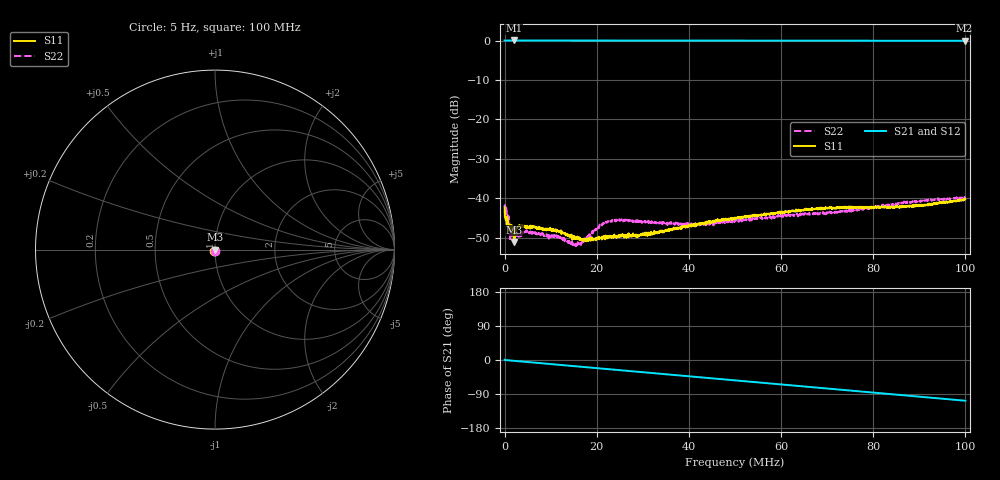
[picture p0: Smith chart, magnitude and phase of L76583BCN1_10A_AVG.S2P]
!Agilent Technologies,E5061B,MY49102235,A.02.00
!Date: Tue Jul 11 14:52:21 2023
!Data & Calibration Information:
!Freq	S11:SOLT2(ON)	S21:SOLT2(ON)	S12:SOLT2(ON)	S22:SOLT2(ON)
# Hz S RI R 50
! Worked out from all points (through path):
!   1600 points, 5 Hz to 100 MHz, reference 50 ohm
!   highest |S21| = 0.02 dB at 2.001 MHz (marker M1); lowest = -0.1 dB at 99.81 MHz (marker M2)
!   group delay of S21, straight-line fit = 2.99 ns
!   lowest |S11| = -51.1 dB at 2.126 MHz (marker M3), VSWR 1.01, Z = 50.3 - j0.0526 ohm
!   |S11| at or under -10 dB: start of sweep to end of sweep
!   |S22| runs from -52.1 to -39.7 dB; largest |S21 - S12| = 0.0026
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5  -0.0052 -0.00565  1.002 0.00804  1 0.0102  -0.00146 -0.00755
625395.8  0.00508 7.71e-05  1.002 -0.0112  1.002 -0.0107  0.00611 -0.000319
1000630  0.00382 0.000374  1.001 -0.0176  1.001 -0.0173  0.00517 -0.000534
1500943  0.00441 -0.000782  1.001 -0.0267  1.001 -0.0266  0.00305 -0.00194
2001256  0.00313 -0.000499  1.002 -0.0374  1.001 -0.0372  0.00324 -0.000235
2126334  0.00275 -0.000523  1.001 -0.0398  1 -0.0392  0.0039 5.18e-05
3126959  0.00457 -0.000218  0.9992 -0.0584  0.999 -0.0583  0.00342 -2.87e-05
4377741  0.00436 -0.000551  0.9977 -0.0818  0.9974 -0.0816  0.00377 -2.69e-05
6128835  0.00431 -0.00119  0.9946 -0.1141  0.9946 -0.1143  0.00367 -0.000838
1.138212e7  0.00294 -0.00266  0.9786 -0.2118  0.9783 -0.2113  0.00174 -0.00267
1.525954e7  0.00174 -0.00254  0.9601 -0.2823  0.96 -0.2818  0.00108 -0.00243
1.669794e7  0.00188 -0.00228  0.952 -0.308  0.9519 -0.3077  0.00136 -0.00225
2.107568e7  0.0024 -0.0018  0.9237 -0.385  0.9233 -0.3848  0.00383 -0.00252
2.251408e7  0.00277 -0.00184  0.9129 -0.4097  0.9127 -0.4097  0.00419 -0.00271
2.632896e7  0.00273 -0.00204  0.881 -0.4739  0.8808 -0.4737  0.00432 -0.00313
3.333334e7  0.00256 -0.00278  0.8109 -0.5851  0.8108 -0.5847  0.00323 -0.00355
4.115072e7  0.00295 -0.00352  0.7163 -0.6966  0.7162 -0.6964  0.0025 -0.00371
5.003127e7  0.00315 -0.00464  0.5904 -0.8056  0.5904 -0.8052  0.00236 -0.00468
6.672921e7  0.00073 -0.00727  0.3125 -0.9464  0.3128 -0.9463  0.00156 -0.00621
8.33646e7  0.000752 -0.00773  0.00685 -0.9945  0.00679 -0.9945  0.00188 -0.00798
9.981238e7  -0.000695 -0.00965  -0.2954 -0.947  -0.2954 -0.9472  0.000894 -0.00993
1e8  -0.000901 -0.00971  -0.299 -0.946  -0.2989 -0.946  0.000883 -0.0102
